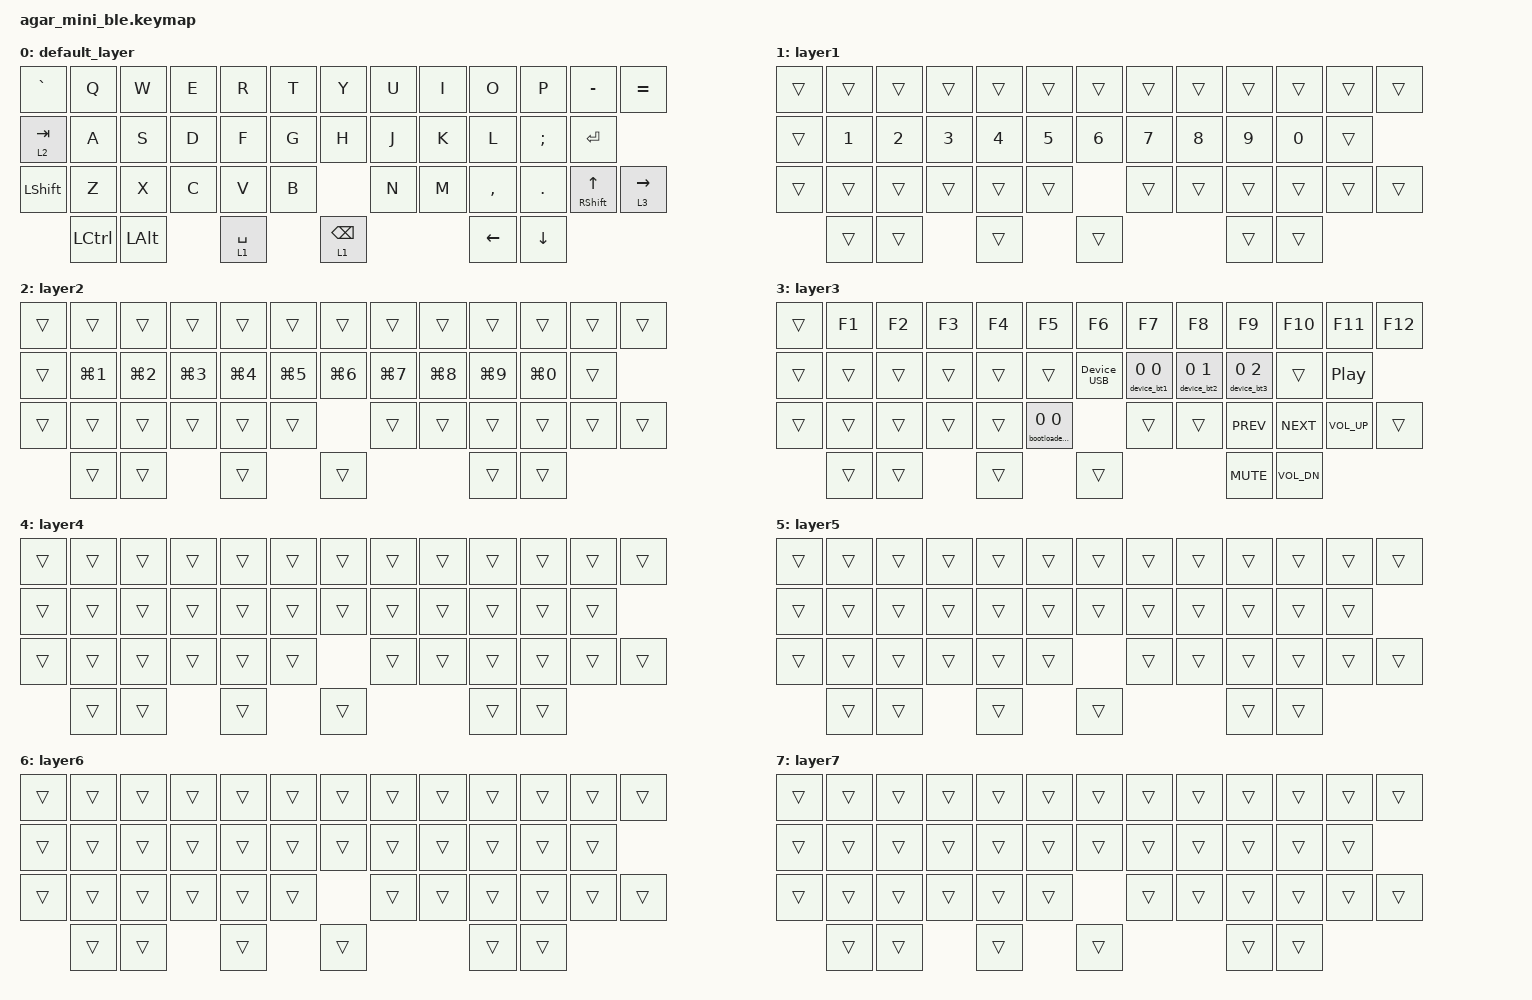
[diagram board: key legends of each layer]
/*
 * Copyright (c) 2021 The ZMK Contributors
 *
 * SPDX-License-Identifier: MIT
 */

#include "./boards/shields/klink_kbd/common.keymap"
#include <behaviors.dtsi>
#include <dt-bindings/zmk/keys.h>
#include <dt-bindings/zmk/pointing.h>

/ {
    keymap {
        compatible = "zmk,keymap";

        default_layer {
            bindings = <
&kp GRAVE  &kp Q      &kp W     &kp E  &kp R        &kp T  &kp Y      &kp U  &kp I      &kp O           &kp P     &kp MINUS          &kp EQUAL
&lt 2 TAB  &kp A      &kp S     &kp D  &kp F        &kp G  &kp H      &kp J  &kp K      &kp L           &kp SEMI  &kp RET
&kp LSHFT  &kp Z      &kp X     &kp C  &kp V        &kp B  &kp N      &kp M  &kp COMMA  &kp DOT         &mt RSHIFT UP_ARROW  &lt 3 RIGHT_ARROW
           &kp LCTRL  &kp LALT         &lt 1 SPACE         &lt 1 BSPC                   &kp LEFT_ARROW  &kp DOWN_ARROW
            >;
        };

        layer1 {
            bindings = <
&trans  &trans  &trans  &trans  &trans  &trans  &trans  &trans  &trans  &trans  &trans  &trans  &trans
&trans  &kp N1  &kp N2  &kp N3  &kp N4  &kp N5  &kp N6  &kp N7  &kp N8  &kp N9  &kp N0  &trans
&trans  &trans  &trans  &trans  &trans  &trans  &trans  &trans  &trans  &trans  &trans  &trans
        &trans  &trans          &trans          &trans                  &trans  &trans
            >;
        };

        layer2 {
            bindings = <
&trans  &trans      &trans      &trans      &trans      &trans      &trans      &trans      &trans      &trans      &trans      &trans  &trans
&trans  &kp LG(N1)  &kp LG(N2)  &kp LG(N3)  &kp LG(N4)  &kp LG(N5)  &kp LG(N6)  &kp LG(N7)  &kp LG(N8)  &kp LG(N9)  &kp LG(N0)  &trans
&trans  &trans      &trans      &trans      &trans      &trans      &trans      &trans      &trans      &trans      &trans      &trans
        &trans      &trans                  &trans                  &trans                              &trans      &trans
            >;
        };

        layer3 {
            bindings = <
&trans  &kp F1  &kp F2  &kp F3  &kp F4  &kp F5  &kp F6  &kp F7  &kp F8      &kp F9      &kp F10       &kp F11           &kp F12
&trans  &trans  &trans  &trans  &trans  &trans  &Device_USB  &device_bt1 0 0  &device_bt2 0 1  &device_bt3 0 2  &trans   &kp C_PLAY_PAUSE
&trans  &trans  &trans  &trans  &trans  &bootloader_reset 0 0 &trans  &trans  &kp C_PREV  &kp C_NEXT  &kp C_VOL_UP  &trans
        &trans  &trans          &trans          &trans                      &kp C_MUTE  &kp C_VOL_DN
            >;
        };

        layer4 {
            bindings = <
&trans  &trans  &trans  &trans  &trans  &trans  &trans  &trans  &trans  &trans  &trans  &trans  &trans
&trans  &trans  &trans  &trans  &trans  &trans  &trans  &trans  &trans  &trans  &trans  &trans
&trans  &trans  &trans  &trans  &trans  &trans  &trans  &trans  &trans  &trans  &trans  &trans
        &trans  &trans          &trans          &trans                  &trans  &trans
            >;
        };

        layer5 {
            bindings = <
&trans  &trans  &trans  &trans  &trans  &trans  &trans  &trans  &trans  &trans  &trans  &trans  &trans
&trans  &trans  &trans  &trans  &trans  &trans  &trans  &trans  &trans  &trans  &trans  &trans
&trans  &trans  &trans  &trans  &trans  &trans  &trans  &trans  &trans  &trans  &trans  &trans
        &trans  &trans          &trans          &trans                  &trans  &trans
            >;
        };

        layer6 {
            bindings = <
&trans  &trans  &trans  &trans  &trans  &trans  &trans  &trans  &trans  &trans  &trans  &trans  &trans
&trans  &trans  &trans  &trans  &trans  &trans  &trans  &trans  &trans  &trans  &trans  &trans
&trans  &trans  &trans  &trans  &trans  &trans  &trans  &trans  &trans  &trans  &trans  &trans
        &trans  &trans          &trans          &trans                  &trans  &trans
            >;
        };

        layer7 {
            bindings = <
&trans  &trans  &trans  &trans  &trans  &trans  &trans  &trans  &trans  &trans  &trans  &trans  &trans
&trans  &trans  &trans  &trans  &trans  &trans  &trans  &trans  &trans  &trans  &trans  &trans
&trans  &trans  &trans  &trans  &trans  &trans  &trans  &trans  &trans  &trans  &trans  &trans
        &trans  &trans          &trans          &trans                  &trans  &trans
            >;
        };
    };
};
